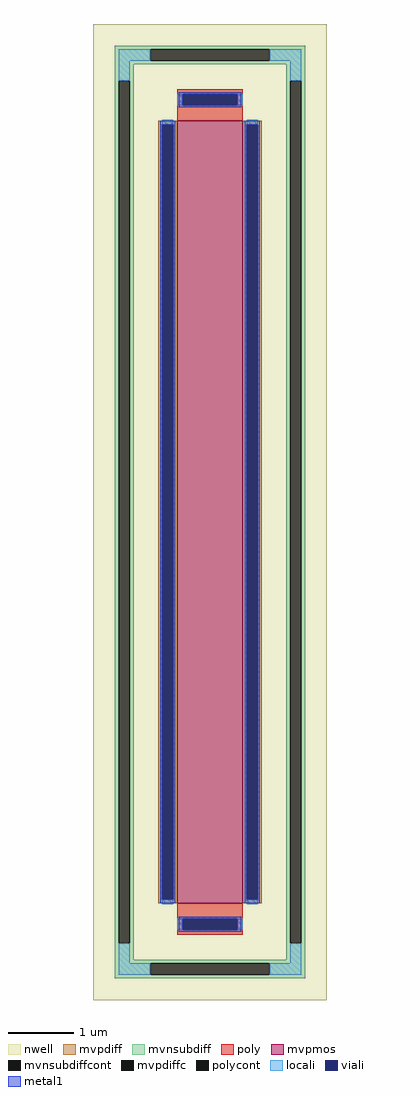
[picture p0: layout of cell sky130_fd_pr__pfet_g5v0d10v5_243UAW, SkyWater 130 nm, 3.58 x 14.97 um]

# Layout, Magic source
magic
tech sky130A
magscale 1 2
<< nwell >>
rect -358 -1497 358 1497
<< mvpmos >>
rect -100 -1200 100 1200
<< mvpdiff >>
rect -158 1188 -100 1200
rect -158 -1188 -146 1188
rect -112 -1188 -100 1188
rect -158 -1200 -100 -1188
rect 100 1188 158 1200
rect 100 -1188 112 1188
rect 146 -1188 158 1188
rect 100 -1200 158 -1188
<< mvpdiffc >>
rect -146 -1188 -112 1188
rect 112 -1188 146 1188
<< mvnsubdiff >>
rect -292 1419 292 1431
rect -292 1385 -184 1419
rect 184 1385 292 1419
rect -292 1373 292 1385
rect -292 1323 -234 1373
rect -292 -1323 -280 1323
rect -246 -1323 -234 1323
rect 234 1323 292 1373
rect -292 -1373 -234 -1323
rect 234 -1323 246 1323
rect 280 -1323 292 1323
rect 234 -1373 292 -1323
rect -292 -1385 292 -1373
rect -292 -1419 -184 -1385
rect 184 -1419 292 -1385
rect -292 -1431 292 -1419
<< mvnsubdiffcont >>
rect -184 1385 184 1419
rect -280 -1323 -246 1323
rect 246 -1323 280 1323
rect -184 -1419 184 -1385
<< poly >>
rect -100 1281 100 1297
rect -100 1247 -84 1281
rect 84 1247 100 1281
rect -100 1200 100 1247
rect -100 -1247 100 -1200
rect -100 -1281 -84 -1247
rect 84 -1281 100 -1247
rect -100 -1297 100 -1281
<< polycont >>
rect -84 1247 84 1281
rect -84 -1281 84 -1247
<< locali >>
rect -280 1385 -184 1419
rect 184 1385 280 1419
rect -280 1323 -246 1385
rect 246 1323 280 1385
rect -100 1247 -84 1281
rect 84 1247 100 1281
rect -146 1188 -112 1204
rect -146 -1204 -112 -1188
rect 112 1188 146 1204
rect 112 -1204 146 -1188
rect -100 -1281 -84 -1247
rect 84 -1281 100 -1247
rect -280 -1385 -246 -1323
rect 246 -1385 280 -1323
rect -280 -1419 -184 -1385
rect 184 -1419 280 -1385
<< viali >>
rect -84 1247 84 1281
rect -146 -1188 -112 1188
rect 112 -1188 146 1188
rect -84 -1281 84 -1247
<< metal1 >>
rect -96 1281 96 1287
rect -96 1247 -84 1281
rect 84 1247 96 1281
rect -96 1241 96 1247
rect -152 1188 -106 1200
rect -152 -1188 -146 1188
rect -112 -1188 -106 1188
rect -152 -1200 -106 -1188
rect 106 1188 152 1200
rect 106 -1188 112 1188
rect 146 -1188 152 1188
rect 106 -1200 152 -1188
rect -96 -1247 96 -1241
rect -96 -1281 -84 -1247
rect 84 -1281 96 -1247
rect -96 -1287 96 -1281
<< properties >>
string FIXED_BBOX -263 -1402 263 1402
string gencell sky130_fd_pr__pfet_g5v0d10v5
string library sky130
string parameters w 12.0 l 1.0 m 1 nf 1 diffcov 100 polycov 100 guard 1 glc 1 grc 1 gtc 1 gbc 1 tbcov 100 rlcov 100 topc 1 botc 1 poverlap 0 doverlap 1 lmin 0.50 wmin 0.42 compatible {sky130_fd_pr__pfet_01v8  sky130_fd_pr__pfet_01v8_lvt sky130_fd_pr__pfet_01v8_hvt  sky130_fd_pr__pfet_g5v0d10v5} full_metal 1 viasrc 100 viadrn 100 viagate 100 viagb 0 viagr 0 viagl 0 viagt 0
<< end >>
